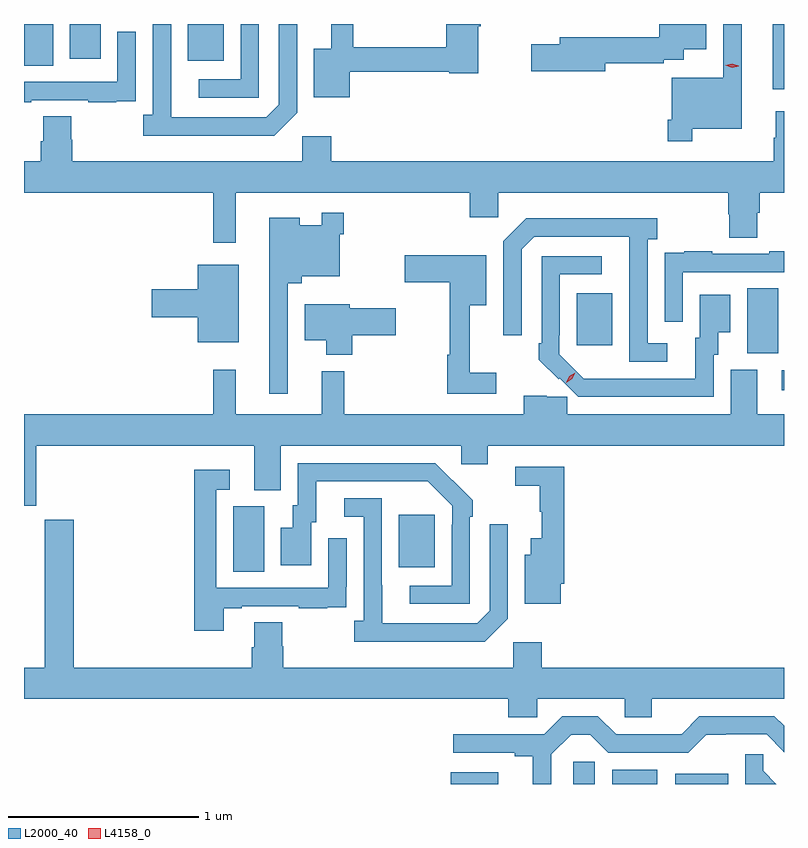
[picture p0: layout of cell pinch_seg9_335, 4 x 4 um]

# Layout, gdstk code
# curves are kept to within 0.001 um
import gdstk
lib = gdstk.Library(unit=1e-6, precision=1e-09)
def R(c, l, rs):  # rectangles x0, y0, x1, y1
    for r in rs: c.add(gdstk.rectangle(r[:2], r[2:], *l))
def P(c, l, *ps):  # polygons
    for p in ps: c.add(gdstk.Polygon(p, *l))
L2000_40 = (2000, 40)
L4158_0 = (4158, 0)

pinch_seg9_335 = lib.new_cell('pinch_seg9_335')
R(pinch_seg9_335, L2000_40, [(637.994,1174.659,638.245,1174.72), (638.64,1174.659,638.752,1174.775), (638.843,1174.659,639.082,1174.735), (639.176,1174.659,639.454,1174.714), (636.848,1175.776,637.012,1176.12), (637.721,1175.801,637.909,1176.076), (639.735,1176.732,639.748,1176.837), (639.554,1176.925,639.718,1177.268), (638.657,1176.969,638.845,1177.243), (639.689,1178.315,639.748,1178.659), (635.748,1178.44,635.902,1178.659), (636.611,1178.465,636.799,1178.659), (635.99,1178.475,636.151,1178.659)])
P(pinch_seg9_335, L2000_40, [(639.265,1178.108),(639.526,1178.108),(639.526,1178.659),(639.429,1178.659),(639.429,1178.377),(639.156,1178.377),(639.156,1178.155),(639.136,1178.155),(639.136,1178.043),(639.265,1178.043)],
  [(637.185,1178.193),(637.185,1178.659),(637.089,1178.659),(637.089,1178.235),(637.023,1178.169),(636.523,1178.169),(636.522,1178.659),(636.426,1178.659),(636.426,1178.182),(636.375,1178.182),(636.375,1178.072),(637.064,1178.072)],
  [(636.984,1178.659),(636.888,1178.659),(636.888,1178.367),(636.669,1178.367),(636.669,1178.271),(636.984,1178.271)],
  [(637.462,1178.409),(637.986,1178.409),(637.986,1178.401),(638.14,1178.401),(638.14,1178.648),(638.153,1178.648),(638.153,1178.659),(637.97,1178.659),(637.97,1178.537),(637.481,1178.537),(637.481,1178.659),(637.364,1178.659),(637.364,1178.53),(637.274,1178.53),(637.274,1178.273),(637.462,1178.273)],
  [(638.806,1178.452),(639.116,1178.452),(639.116,1178.472),(639.22,1178.472),(639.22,1178.525),(639.34,1178.525),(639.34,1178.659),(639.092,1178.659),(639.092,1178.588),(638.567,1178.588),(638.567,1178.552),(638.418,1178.552),(638.418,1178.41),(638.806,1178.41)],
  [(635.785,1178.259),(636.085,1178.259),(636.085,1178.247),(636.233,1178.247),(636.233,1178.253),(636.335,1178.253),(636.335,1178.362),(636.336,1178.362),(636.336,1178.617),(636.24,1178.617),(636.24,1178.355),(635.748,1178.355),(635.748,1178.247),(635.785,1178.247)],
  [(636.862,1177.772),(638.093,1177.772),(638.093,1177.641),(638.244,1177.641),(638.244,1177.772),(639.455,1177.772),(639.455,1177.659),(639.46,1177.659),(639.46,1177.534),(639.607,1177.534),(639.607,1177.666),(639.62,1177.666),(639.62,1177.772),(639.748,1177.772),(639.748,1178.2),(639.704,1178.2),(639.704,1178.06),(639.693,1178.06),(639.693,1177.936),(637.364,1177.936),(637.364,1178.068),(637.212,1178.068),(637.212,1177.936),(636.002,1177.936),(636.002,1178.049),(635.997,1178.049),(635.997,1178.174),(635.849,1178.174),(635.849,1178.042),(635.837,1178.042),(635.837,1177.936),(635.748,1177.936),(635.748,1177.772),(636.745,1177.772),(636.745,1177.509),(636.862,1177.509)],
  [(637.137,1177.295),(637.211,1177.295),(637.211,1177.331),(637.41,1177.331),(637.41,1177.553),(637.43,1177.553),(637.43,1177.666),(637.314,1177.666),(637.314,1177.6),(637.198,1177.6),(637.198,1177.639),(637.04,1177.639),(637.04,1176.714),(637.137,1176.714)],
  [(639.133,1176.978),(639.03,1176.978),(639.03,1177.526),(639.082,1177.526),(639.082,1177.636),(638.392,1177.636),(638.271,1177.515),(638.271,1177.02),(638.367,1177.02),(638.367,1177.473),(638.433,1177.539),(638.933,1177.539),(638.934,1176.882),(639.133,1176.882)],
  [(639.216,1177.353),(639.748,1177.353),(639.748,1177.462),(639.671,1177.462),(639.671,1177.449),(639.371,1177.449),(639.371,1177.462),(639.223,1177.462),(639.223,1177.455),(639.121,1177.455),(639.121,1177.346),(639.12,1177.346),(639.12,1177.092),(639.216,1177.092)],
  [(638.233,1176.823),(638.093,1176.823),(638.093,1177.178),(638.182,1177.178),(638.182,1177.443),(637.752,1177.443),(637.752,1177.301),(637.99,1177.301),(637.99,1176.917),(637.975,1176.917),(637.975,1176.714),(638.233,1176.714)],
  [(639.378,1176.918),(639.403,1176.918),(639.403,1177.037),(639.466,1177.037),(639.466,1177.234),(639.305,1177.234),(639.305,1177.008),(639.281,1177.008),(639.281,1176.792),(638.693,1176.793),(638.565,1176.921),(638.565,1177.021),(638.568,1177.021),(638.568,1177.341),(638.788,1177.341),(638.788,1177.437),(638.472,1177.437),(638.472,1176.979),(638.457,1176.979),(638.457,1176.893),(638.562,1176.788),(638.567,1176.794),(638.664,1176.696),(639.378,1176.696)],
  [(636.877,1177.393),(636.662,1177.393),(636.662,1177.262),(636.42,1177.262),(636.42,1177.115),(636.662,1177.115),(636.662,1176.983),(636.877,1176.983)],
  [(637.475,1177.021),(637.705,1177.021),(637.705,1177.163),(637.462,1177.163),(637.462,1177.183),(637.226,1177.183),(637.226,1176.995),(637.34,1176.995),(637.34,1176.917),(637.475,1176.917)],
  [(635.812,1176.44),(636.959,1176.44),(636.959,1176.205),(637.099,1176.205),(637.099,1176.44),(638.049,1176.44),(638.049,1176.342),(638.188,1176.342),(638.188,1176.44),(639.748,1176.44),(639.748,1176.604),(639.607,1176.604),(639.607,1176.84),(639.467,1176.84),(639.467,1176.604),(638.607,1176.604),(638.607,1176.696),(638.498,1176.696),(638.498,1176.703),(638.378,1176.703),(638.378,1176.604),(637.433,1176.604),(637.433,1176.832),(637.316,1176.832),(637.316,1176.604),(636.863,1176.604),(636.863,1176.838),(636.745,1176.838),(636.745,1176.604),(635.748,1176.604),(635.748,1176.123),(635.812,1176.123)],
  [(638.094,1176.065),(638.109,1176.065),(638.109,1176.153),(637.912,1176.348),(637.188,1176.348),(637.188,1176.126),(637.163,1176.126),(637.163,1176.007),(637.1,1176.007),(637.1,1175.811),(637.261,1175.811),(637.261,1176.036),(637.285,1176.036),(637.285,1176.252),(637.873,1176.252),(638.001,1176.123),(638.001,1176.023),(637.998,1176.023),(637.998,1175.703),(637.779,1175.703),(637.779,1175.607),(638.094,1175.607)],
  [(638.572,1175.713),(638.591,1175.713),(638.591,1176.33),(638.334,1176.33),(638.334,1176.229),(638.463,1176.229),(638.463,1176.093),(638.474,1176.093),(638.474,1175.953),(638.414,1175.953),(638.414,1175.866),(638.384,1175.866),(638.384,1175.609),(638.572,1175.609)],
  [(636.799,1175.583),(636.895,1175.583),(636.895,1175.595),(637.195,1175.595),(637.195,1175.583),(637.343,1175.583),(637.343,1175.589),(637.445,1175.589),(637.445,1175.698),(637.446,1175.698),(637.446,1175.953),(637.35,1175.953),(637.35,1175.691),(636.759,1175.691),(636.759,1176.207),(636.832,1176.207),(636.832,1176.313),(636.643,1176.313),(636.643,1175.466),(636.799,1175.466)],
  [(638.295,1175.529),(638.295,1176.025),(638.199,1176.025),(638.199,1175.571),(638.133,1175.505),(637.633,1175.505),(637.632,1176.162),(637.434,1176.162),(637.434,1176.066),(637.536,1176.066),(637.536,1175.518),(637.485,1175.518),(637.485,1175.408),(638.174,1175.408)],
  [(638.448,1175.108),(638.91,1175.108),(638.91,1175.01),(639.052,1175.01),(639.052,1175.108),(639.748,1175.108),(639.748,1175.272),(638.474,1175.272),(638.474,1175.404),(638.322,1175.404),(638.322,1175.272),(637.112,1175.272),(637.112,1175.385),(637.107,1175.385),(637.107,1175.51),(636.959,1175.51),(636.959,1175.378),(636.947,1175.378),(636.947,1175.272),(636.011,1175.272),(636.011,1176.051),(635.858,1176.051),(635.858,1175.272),(635.748,1175.272),(635.748,1175.108),(638.297,1175.108),(638.297,1175.01),(638.448,1175.01)],
  [(638.523,1174.815),(638.627,1174.919),(638.728,1174.919),(638.823,1174.824),(639.243,1174.824),(639.338,1174.919),(639.657,1174.92),(639.747,1174.83),(639.745,1174.828),(639.748,1174.825),(639.748,1174.965),(639.697,1175.016),(639.303,1175.016),(639.209,1174.922),(639.104,1174.922),(639.104,1174.92),(638.865,1174.92),(638.769,1175.016),(638.582,1175.016),(638.486,1174.92),(638.253,1174.92),(638.253,1174.922),(638.007,1174.922),(638.007,1174.824),(638.33,1174.824),(638.33,1174.804),(638.426,1174.804),(638.426,1174.659),(638.523,1174.659)],
  [(639.638,1174.728),(639.638,1174.816),(639.543,1174.816),(639.543,1174.659),(639.707,1174.659)])
P(pinch_seg9_335, L4158_0, [(639.475,1178.43),(639.439,1178.442),(639.439,1178.442),(639.439,1178.442),(639.476,1178.45),(639.511,1178.438),(639.511,1178.438),(639.511,1178.437)],
  [(638.603,1176.77),(638.603,1176.771),(638.619,1176.804),(638.649,1176.824),(638.65,1176.824),(638.65,1176.824),(638.634,1176.791),(638.603,1176.77)])

lib.write_gds('pinch_seg9_335.gds')
